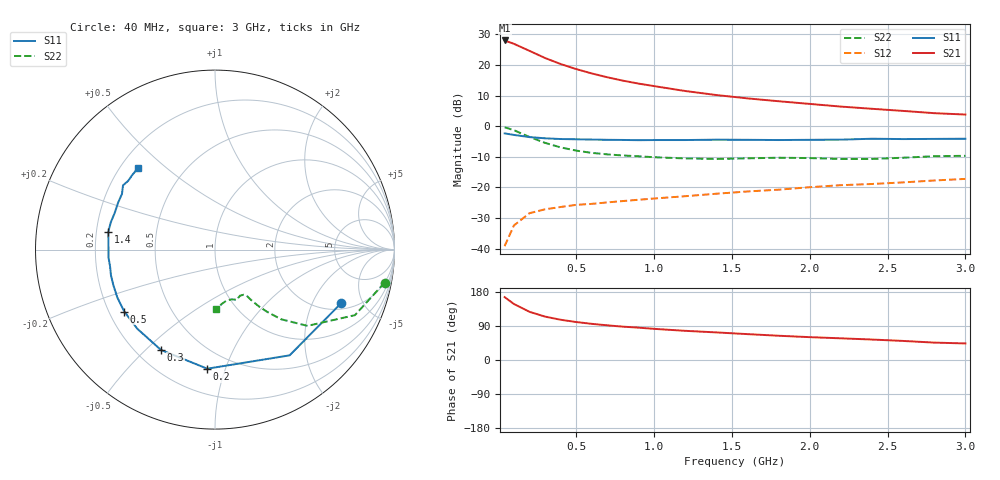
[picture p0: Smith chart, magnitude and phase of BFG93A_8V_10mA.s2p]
! Filename:  BFG93AF.S2P  Version:  2.0
! Philips part #: BFG 93A  Date: Jun 1990
! Bias condition: Vce=8V, Ic=10mA
! IN LINE PINNING: same data as with cross emitter pinning.
#  MHz  S  MA  R  50
! Freq  S11  S21  S12  S22  !GUM [dB]
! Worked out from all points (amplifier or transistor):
!   21 points, 40 MHz to 3 GHz, reference 50 ohm
!   highest |S21| = 28.0 dB at 40 MHz (marker M1)
!   |S21| within 3 dB of that: start of sweep to 182.5 MHz
!   unconditionally stable (mu >= 1): 1.113 GHz to end of sweep
!   at 300 MHz: K = 0.39, MSG = 24.7 dB, |S12| = -27.1 dB
!   at 1 GHz: K = 0.94, MSG = 18.4 dB, |S12| = -23.6 dB
!   at 3 GHz: K = 1.26, MAG = 7.4 dB, |S12| = -17.2 dB
!   lowest NFmin = 1.40 dB at 500 MHz
!   S11 on the Smith chart (normalised r, x): 40 MHz: 2.35, -3.37; 200 MHz: 0.37, -0.87; 300 MHz: 0.30, -0.56; 500 MHz: 0.26, -0.29; 1.4 GHz: 0.25, +0.08; 3 GHz: 0.27, +0.41
40  0.764 -23.0  25.16 166.0  0.011 78.5  0.963 -11.0
100  0.721 -54.8  22.16 147.7  0.024 64.7  0.861 -25.1
200  0.665 -93.7  17.01 127.1  0.038 50.5  0.668 -39.5
300  0.635 -118.3  13 114.5  0.044 44.2  0.535 -46.5
400  0.618 -134.5  10.37 106.2  0.048 41.7  0.451 -50.1
500  0.612 -145.7  8.575 100.2  0.052 41.2  0.4 -52.3
600  0.606 -153.9  7.277 95.4  0.054 41.6  0.367 -53.5
700  0.6 -160.7  6.302 91.5  0.057 43.1  0.347 -54.3
800  0.597 -166.2  5.55 88.0  0.06 44.0  0.333 -54.8
900  0.592 -171.1  4.969 85.4  0.063 45.6  0.323 -55.1
1000  0.595 -175.8  4.524 82.2  0.066 46.3  0.312 -55.5
1200  0.595 176.3  3.761 77.0  0.072 49.4  0.298 -57.6
1400  0.603 170.5  3.232 72.8  0.079 51.1  0.292 -61.4
1600  0.6 165.2  2.851 68.3  0.086 52.8  0.299 -64.5
1800  0.595 159.8  2.561 64.0  0.092 54.3  0.306 -65.9
2000  0.6 154.1  2.314 60.3  0.101 55.9  0.302 -67.6
2200  0.604 149.1  2.094 57.2  0.109 56.1  0.292 -71.6
2400  0.625 145.1  1.927 54.0  0.114 57.5  0.292 -77.7
2600  0.617 141.6  1.779 50.3  0.121 58.4  0.306 -83.2
2800  0.621 137.7  1.634 45.9  0.13 59.1  0.324 -86.5
3000  0.625 133.1  1.552 43.7  0.138 57.2  0.329 -88.8
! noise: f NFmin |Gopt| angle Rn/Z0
500  1.4  0.215  60.2  0.206
1000  2  0.249  107.9  0.25
2000  3  0.46  -173.9  0.136
